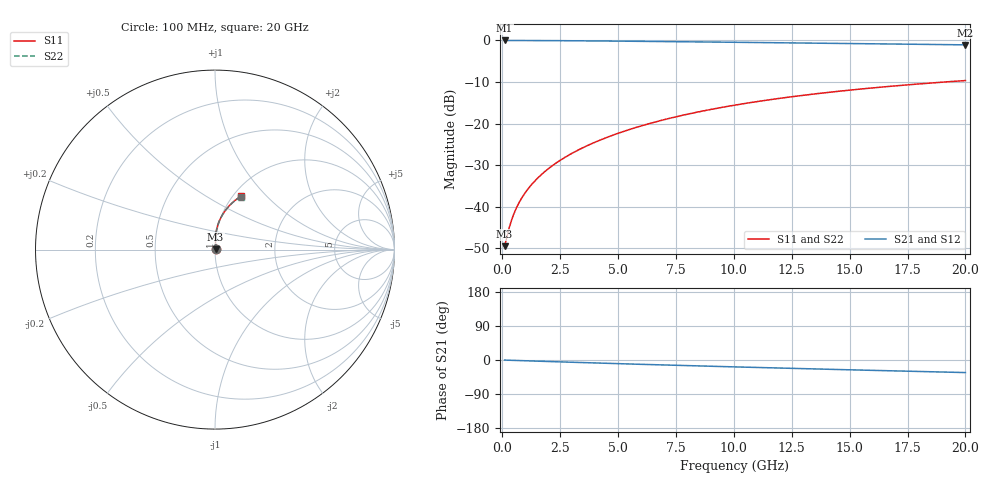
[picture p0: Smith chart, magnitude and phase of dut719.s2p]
! Touchstone file exported from HFSS 2024.1.0
!  File:  C:/UserFiles/LocalFiles/RDL_TSV_Batchsim/temp_RDL_top_719_1779850503.aedt
!  Generated:  10:57:31 AM May 27, 2026
!  Design:  RDL_top
!  Project:  temp_RDL_top_719_1779850503
!  Setup:  Setup1
!  Solution:  Sweep
! Variables:
!  dtsv = 10.80580581um
!  hbump = 3um
!  htsv = 69.08um
!  ldown = 100um
!  lrdl = 421.08um
!  p = 40
!  p1 = 59.87um
!  rhole = 1um
!  t = 450um
!  tdown = 3.915915916um
!  trdl = 2.16um
!  wdown = 15.38538539um
!  wrdl = 26.78um
# GHz S MA R 50.000000
! Terminal data exported
! Port[1] = Box2_T1
! Port[2] = Box2_T2
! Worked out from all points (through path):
!   200 points, 100 MHz to 20 GHz, reference 50 ohm
!   highest |S21| = -0.03 dB at 100 MHz (marker M1); lowest = -1.1 dB at 20 GHz (marker M2)
!   group delay of S21, straight-line fit = 4.56 ps
!   lowest |S11| = -49.5 dB at 100 MHz (marker M3), VSWR 1.01, Z = 50.3 + j0.158 ohm
!   |S11| at or under -10 dB: start of sweep to 19.15 GHz
!   |S22| runs from -49.5 to -9.7 dB; largest |S21 - S12| = 3.1e-15
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0.1  0.003348 28.0  0.997 -0.2  0.997 -0.2  0.003348 28.0
! Gamma 0 0 0 0
! Port Impedance 50 0 50 0
0.3  0.00558 55.7  0.9968 -0.6  0.9968 -0.6  0.00558 55.7
0.4  0.006883 61.8  0.9966 -0.8  0.9966 -0.8  0.006883 61.8
0.5  0.008203 65.9  0.9964 -1.0  0.9964 -1.0  0.008203 65.9
0.6  0.009525 68.9  0.9962 -1.2  0.9962 -1.2  0.009525 68.9
0.8  0.01217 73.1  0.9958 -1.6  0.9958 -1.6  0.01217 73.1
1  0.01484 76.1  0.9954 -2.0  0.9954 -2.0  0.01484 76.1
1.2  0.01755 78.3  0.995 -2.4  0.995 -2.4  0.01755 78.3
1.7  0.02448 82.0  0.9937 -3.4  0.9937 -3.4  0.02447 81.9
2.2  0.03165 84.2  0.9922 -4.4  0.9922 -4.4  0.03165 84.1
2.8  0.04059 85.8  0.9899 -5.6  0.9899 -5.6  0.04058 85.8
3.5  0.05146 86.8  0.9868 -6.9  0.9868 -6.9  0.05145 86.8
4.2  0.06279 87.3  0.9833 -8.2  0.9833 -8.2  0.06276 87.2
5  0.07622 87.2  0.979 -9.6  0.979 -9.6  0.07618 87.2
5.9  0.09182 86.7  0.9738 -11.2  0.9738 -11.2  0.09177 86.6
6.8  0.1078 85.8  0.9684 -12.8  0.9684 -12.8  0.1077 85.7
8.4  0.1367 83.6  0.9584 -15.5  0.9584 -15.5  0.1366 83.6
10.1  0.1674 80.9  0.9477 -18.3  0.9477 -18.3  0.1673 80.8
11.7  0.1958 78.2  0.9375 -20.8  0.9375 -20.8  0.1957 78.1
13.4  0.2252 75.2  0.9265 -23.5  0.9265 -23.5  0.225 75.2
16.7  0.2792 69.6  0.9049 -28.4  0.9049 -28.4  0.279 69.6
20  0.3285 64.3  0.8828 -33.2  0.8828 -33.2  0.3282 64.2
